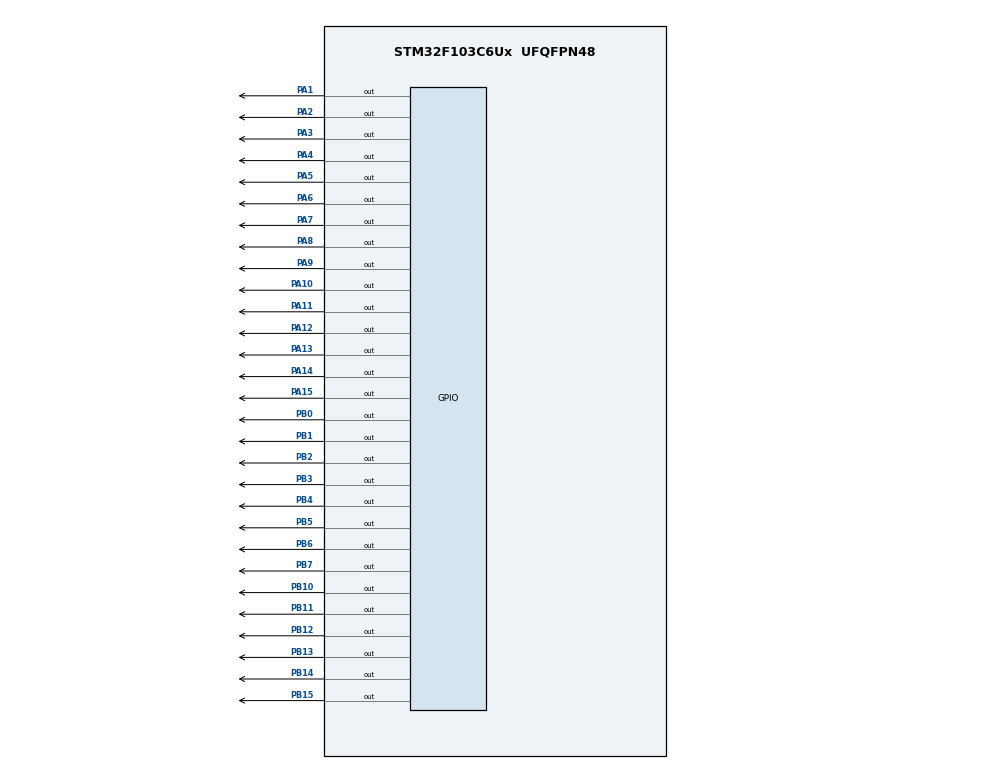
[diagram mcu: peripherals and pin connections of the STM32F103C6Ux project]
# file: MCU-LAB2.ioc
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Mcu.Family=STM32F1
Mcu.Name=STM32F103C6Ux
Mcu.Package=UFQFPN48
NVIC.PriorityGroup=NVIC_PRIORITYGROUP_4
NVIC.TIM2_IRQn=true\:0\:0\:false\:false\:true\:true\:true
PA1.Signal=GPIO_Output
PA10.Signal=GPIO_Output
PA11.Signal=GPIO_Output
PA12.Signal=GPIO_Output
PA13.Signal=GPIO_Output
PA14.Signal=GPIO_Output
PA15.Signal=GPIO_Output
PA2.Signal=GPIO_Output
PA3.Signal=GPIO_Output
PA4.Signal=GPIO_Output
PA5.Signal=GPIO_Output
PA6.Signal=GPIO_Output
PA7.Signal=GPIO_Output
PA8.Signal=GPIO_Output
PA9.Signal=GPIO_Output
PB0.Signal=GPIO_Output
PB1.Signal=GPIO_Output
PB10.Signal=GPIO_Output
PB11.Signal=GPIO_Output
PB12.Signal=GPIO_Output
PB13.Signal=GPIO_Output
PB14.Signal=GPIO_Output
PB15.Signal=GPIO_Output
PB2.Signal=GPIO_Output
PB3.Signal=GPIO_Output
PB4.Signal=GPIO_Output
PB5.Signal=GPIO_Output
PB6.Signal=GPIO_Output
PB7.Signal=GPIO_Output
ProjectManager.HeapSize=0x200
ProjectManager.StackSize=0x400
ProjectManager.TargetToolchain=STM32CubeIDE
RCC.APB1Freq_Value=8000000
RCC.APB2Freq_Value=8000000
TIM2.Period=9
TIM2.Prescaler=7999
VP_SYS_VS_ND.Mode=No_Debug
VP_TIM2_VS_ClockSourceINT.Mode=Internal
board=custom

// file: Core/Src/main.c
/* USER CODE BEGIN Header */
/**
  ******************************************************************************
  * @file           : main.c
  * @brief          : Main program body
  ******************************************************************************
  * @attention
  *
  * <h2><center>&copy; Copyright (c) 2024 STMicroelectronics.
  * All rights reserved.</center></h2>
  *
  * This software component is licensed by ST under BSD 3-Clause license,
  * the "License"; You may not use this file except in compliance with the
  * License. You may obtain a copy of the License at:
  *                        opensource.org/licenses/BSD-3-Clause
  *
  ******************************************************************************
  */
/* USER CODE END Header */
#include "main.h"

/* USER CODE BEGIN Includes */
#include"lab22.h"
#include"softwaretimer.h"
/* USER CODE END Includes */

TIM_HandleTypeDef htim2;

/* USER CODE BEGIN PV */
int hour = 15;
int minute = 8;
int second = 50;
int led_buffer [4] ;
int index_led1=0;
/* USER CODE END PV */

void SystemClock_Config(void);
static void MX_GPIO_Init(void);
static void MX_TIM2_Init(void);

/* USER CODE BEGIN 0 */
void updateClockBuffer() {
    led_buffer[0] = hour / 10;
    led_buffer[1] = hour % 10;
    led_buffer[2] = minute / 10;
    led_buffer[3] = minute % 10;
}
void updateLEDControl(int index_led1) {
    HAL_GPIO_TogglePin(GPIOA, GPIO_PIN_5);

    if (index_led1 == 2 || index_led1 == 0) {
        HAL_GPIO_TogglePin(GPIOA, GPIO_PIN_4);
    }

    enableseg(index_led1);
    display7SEG_A(led_buffer[index_led1]);

}
/* USER CODE END 0 */

int main(void)
{

  /* MCU Configuration--------------------------------------------------------*/

  /* Reset of all peripherals, Initializes the Flash interface and the Systick. */
  HAL_Init();

  /* Configure the system clock */
  SystemClock_Config();

  /* Initialize all configured peripherals */
  MX_GPIO_Init();
  MX_TIM2_Init();
  /* USER CODE BEGIN 2 */
  HAL_TIM_Base_Start_IT(&htim2);
  /* USER CODE END 2 */

  /* Infinite loop */
  /* USER CODE BEGIN WHILE */
  setTimer0(1000);
  setTimer1(250);
  while (1)
  {
    /* USER CODE END WHILE */
	  if(timer0_flag == 1 )
	  {
		  setTimer0(1000);
		             if (index_led1 == 0) {
		                 second++;
		                 if (second >= 60) {
		                     second = 0;
		                     minute++;
		                 }
		                 if (minute >= 60) {
		                     minute = 0;
		                     hour++;
		                 }
		                 if (hour >= 24) {
		                     hour = 0;
		                 }
		                 updateClockBuffer();
		             }

	  }
	  if(timer1_flag == 1 )
	  	  {

	  		             updateLEDControl(index_led1++);

	  		             if (index_led1 > 3) {
	  		                 index_led1 = 0;
	  		             }
	  		             setTimer1(250);
	  		         }
  /* USER CODE END 3 */
}
}
void SystemClock_Config(void)
{
  RCC_OscInitTypeDef RCC_OscInitStruct = {0};
  RCC_ClkInitTypeDef RCC_ClkInitStruct = {0};

  /** Initializes the RCC Oscillators according to the specified parameters
  * in the RCC_OscInitTypeDef structure.
  */
  RCC_OscInitStruct.OscillatorType = RCC_OSCILLATORTYPE_HSI;
  RCC_OscInitStruct.HSIState = RCC_HSI_ON;
  RCC_OscInitStruct.HSICalibrationValue = RCC_HSICALIBRATION_DEFAULT;
  RCC_OscInitStruct.PLL.PLLState = RCC_PLL_NONE;
  if (HAL_RCC_OscConfig(&RCC_OscInitStruct) != HAL_OK)
  {
    Error_Handler();
  }
  /** Initializes the CPU, AHB and APB buses clocks
  */
  RCC_ClkInitStruct.ClockType = RCC_CLOCKTYPE_HCLK|RCC_CLOCKTYPE_SYSCLK
                              |RCC_CLOCKTYPE_PCLK1|RCC_CLOCKTYPE_PCLK2;
  RCC_ClkInitStruct.SYSCLKSource = RCC_SYSCLKSOURCE_HSI;
  RCC_ClkInitStruct.AHBCLKDivider = RCC_SYSCLK_DIV1;
  RCC_ClkInitStruct.APB1CLKDivider = RCC_HCLK_DIV1;
  RCC_ClkInitStruct.APB2CLKDivider = RCC_HCLK_DIV1;

  if (HAL_RCC_ClockConfig(&RCC_ClkInitStruct, FLASH_LATENCY_0) != HAL_OK)
  {
    Error_Handler();
  }
}

static void MX_TIM2_Init(void)
{

  TIM_ClockConfigTypeDef sClockSourceConfig = {0};
  TIM_MasterConfigTypeDef sMasterConfig = {0};

  htim2.Instance = TIM2;
  htim2.Init.Prescaler = 7999;
  htim2.Init.CounterMode = TIM_COUNTERMODE_UP;
  htim2.Init.Period = 9;
  htim2.Init.ClockDivision = TIM_CLOCKDIVISION_DIV1;
  htim2.Init.AutoReloadPreload = TIM_AUTORELOAD_PRELOAD_DISABLE;
  if (HAL_TIM_Base_Init(&htim2) != HAL_OK)
  {
    Error_Handler();
  }
  sClockSourceConfig.ClockSource = TIM_CLOCKSOURCE_INTERNAL;
  if (HAL_TIM_ConfigClockSource(&htim2, &sClockSourceConfig) != HAL_OK)
  {
    Error_Handler();
  }
  sMasterConfig.MasterOutputTrigger = TIM_TRGO_RESET;
  sMasterConfig.MasterSlaveMode = TIM_MASTERSLAVEMODE_DISABLE;
  if (HAL_TIMEx_MasterConfigSynchronization(&htim2, &sMasterConfig) != HAL_OK)
  {
    Error_Handler();
  }

}

static void MX_GPIO_Init(void)
{
  GPIO_InitTypeDef GPIO_InitStruct = {0};

  /* GPIO Ports Clock Enable */
  __HAL_RCC_GPIOA_CLK_ENABLE();
  __HAL_RCC_GPIOB_CLK_ENABLE();

  /*Configure GPIO pin Output Level */
  HAL_GPIO_WritePin(GPIOA, GPIO_PIN_1|GPIO_PIN_2|GPIO_PIN_3|GPIO_PIN_4
                          |GPIO_PIN_5|GPIO_PIN_6|GPIO_PIN_7|GPIO_PIN_8
                          |GPIO_PIN_9|GPIO_PIN_10|GPIO_PIN_11|GPIO_PIN_12
                          |GPIO_PIN_13|GPIO_PIN_14|GPIO_PIN_15, GPIO_PIN_RESET);

  /*Configure GPIO pin Output Level */
  HAL_GPIO_WritePin(GPIOB, GPIO_PIN_0|GPIO_PIN_1|GPIO_PIN_2|GPIO_PIN_10
                          |GPIO_PIN_11|GPIO_PIN_12|GPIO_PIN_13|GPIO_PIN_14
                          |GPIO_PIN_15|GPIO_PIN_3|GPIO_PIN_4|GPIO_PIN_5
                          |GPIO_PIN_6|GPIO_PIN_7, GPIO_PIN_RESET);

  /*Configure GPIO pins : PA1 PA2 PA3 PA4
                           PA5 PA6 PA7 PA8
                           PA9 PA10 PA11 PA12
                           PA13 PA14 PA15 */
  GPIO_InitStruct.Pin = GPIO_PIN_1|GPIO_PIN_2|GPIO_PIN_3|GPIO_PIN_4
                          |GPIO_PIN_5|GPIO_PIN_6|GPIO_PIN_7|GPIO_PIN_8
                          |GPIO_PIN_9|GPIO_PIN_10|GPIO_PIN_11|GPIO_PIN_12
                          |GPIO_PIN_13|GPIO_PIN_14|GPIO_PIN_15;
  GPIO_InitStruct.Mode = GPIO_MODE_OUTPUT_PP;
  GPIO_InitStruct.Pull = GPIO_NOPULL;
  GPIO_InitStruct.Speed = GPIO_SPEED_FREQ_LOW;
  HAL_GPIO_Init(GPIOA, &GPIO_InitStruct);

  /*Configure GPIO pins : PB0 PB1 PB2 PB10
                           PB11 PB12 PB13 PB14
                           PB15 PB3 PB4 PB5
                           PB6 PB7 */
  GPIO_InitStruct.Pin = GPIO_PIN_0|GPIO_PIN_1|GPIO_PIN_2|GPIO_PIN_10
                          |GPIO_PIN_11|GPIO_PIN_12|GPIO_PIN_13|GPIO_PIN_14
                          |GPIO_PIN_15|GPIO_PIN_3|GPIO_PIN_4|GPIO_PIN_5
                          |GPIO_PIN_6|GPIO_PIN_7;
  GPIO_InitStruct.Mode = GPIO_MODE_OUTPUT_PP;
  GPIO_InitStruct.Pull = GPIO_NOPULL;
  GPIO_InitStruct.Speed = GPIO_SPEED_FREQ_LOW;
  HAL_GPIO_Init(GPIOB, &GPIO_InitStruct);

}

/* USER CODE BEGIN 4 */
void HAL_TIM_PeriodElapsedCallback(TIM_HandleTypeDef *htim)
{
	  timer_run();
	}

/* USER CODE END 4 */

void Error_Handler(void)
{
  __disable_irq();
  while (1)
  {
  }
}

/************************ (C) COPYRIGHT STMicroelectronics *****END OF FILE****/
